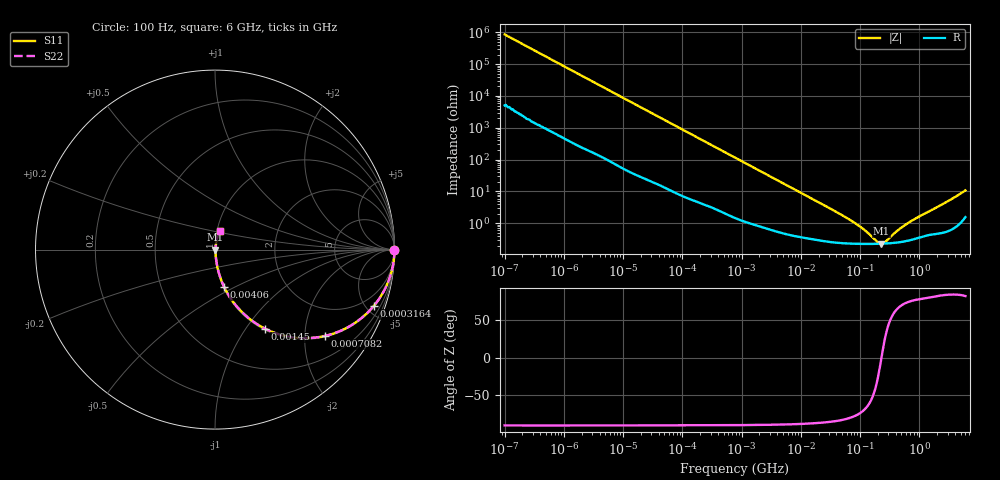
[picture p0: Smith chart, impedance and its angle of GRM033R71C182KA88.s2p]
!Murata Part Number: GRM033R71C182KA88
!These Parameters are Measured in Series Mode Connection
!Data Generated on Mar 30, 2021
!  o--ll--o
!Port1  Port2
!  o------o
!Operation Temp=25[degC], DC Bias Voltage=0[V]
!Freq. Start=100[Hz] Stop=6[GHz] 401[Steps]
# Hz S RI R 50
!Freq.(Hz) S11(Real) S11(Imag) S21(Real) S21(Imag) S12(Real) S12(Imag) S22(Real) S22(Imag)
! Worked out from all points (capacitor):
!   401 points, 100 Hz to 6 GHz, reference 50 ohm
!   read as one part in series: C = 1.85 nF near 109 Hz
!   lowest |Z| = 228 mohm at 228.4 MHz (marker M1)
!   series resonance near 229.8 MHz, so ESL is about 260 pH
!   S11 on the Smith chart (normalised r, x): 100 Hz: open; 316.4 kHz: 1.06, -5.60; 708.2 kHz: 1.03, -2.52; 1.45 MHz: 1.02, -1.23; 4.06 MHz: 1.01, -0.44; 6 GHz: 1.03, +0.21
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100  1 -0.000117  7e-07 0.000117  7e-07 0.000117  1 -0.000117
2008  1 -0.00232  1.82e-05 0.00232  1.82e-05 0.00232  1 -0.00232
40335  0.9976 -0.0459  0.00245 0.0459  0.00245 0.0459  0.9976 -0.0459
123542  0.9796 -0.1372  0.0204 0.1372  0.0204 0.1372  0.9796 -0.1372
316350  0.8843 -0.3144  0.1157 0.3144  0.1157 0.3144  0.8843 -0.3144
473344  0.7764 -0.4108  0.2236 0.4108  0.2236 0.4108  0.7764 -0.4108
708247  0.6116 -0.4812  0.3884 0.4812  0.3884 0.4812  0.6116 -0.4812
774597  0.5691 -0.4889  0.4309 0.4889  0.4309 0.4889  0.5691 -0.4889
1449809  0.2792 -0.4409  0.7208 0.4409  0.7208 0.4409  0.2792 -0.4409
2372521  0.1302 -0.3271  0.8698 0.3271  0.8698 0.3271  0.1302 -0.3271
4060267  0.0517 -0.2098  0.9483 0.2098  0.9483 0.2098  0.0517 -0.2098
1.555665e7  0.00654 -0.0581  0.9935 0.0581  0.9935 0.0581  0.00654 -0.0581
7.797396e7  0.00238 -0.0105  0.9976 0.0105  0.9976 0.0105  0.00238 -0.0105
1.220122e8  0.00227 -0.00545  0.9977 0.00545  0.9977 0.00545  0.00227 -0.00545
1.996653e8  0.00226 -0.00114  0.9977 0.00114  0.9977 0.00114  0.00226 -0.00114
2.283698e8  0.00228 -5.05e-05  0.9977 5.05e-05  0.9977 5.05e-05  0.00228 -5.05e-05
2.61201e8  0.0023 0.00103  0.9977 -0.00103  0.9977 -0.00103  0.0023 0.00103
3.124326e8  0.00235 0.00251  0.9976 -0.00251  0.9976 -0.00251  0.00235 0.00251
4.470121e8  0.00254 0.00572  0.9975 -0.00572  0.9975 -0.00572  0.00254 0.00572
6.994765e8  0.00305 0.0107  0.997 -0.0107  0.997 -0.0107  0.00305 0.0107
2.562649e9  0.00671 0.0405  0.9933 -0.0405  0.9933 -0.0405  0.00671 0.0405
6e9  0.0262 0.1025  0.9738 -0.1025  0.9738 -0.1025  0.0262 0.1025
